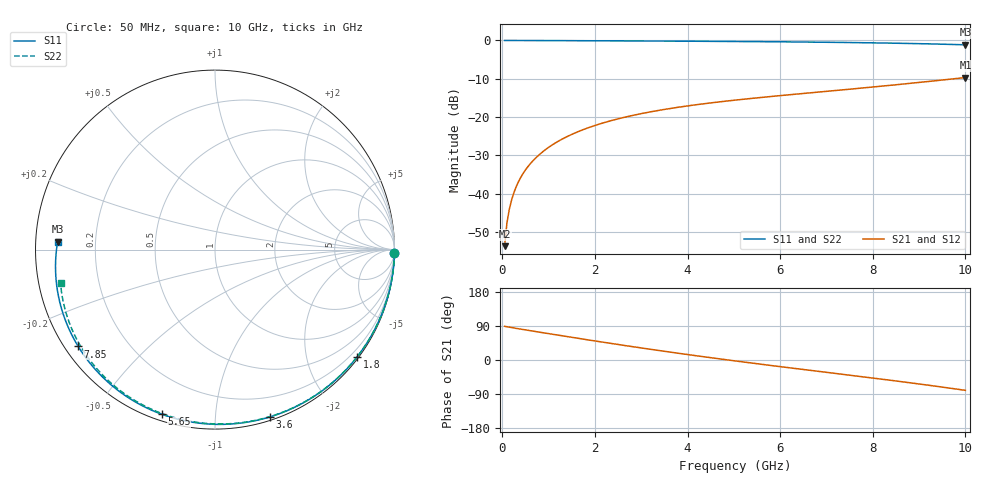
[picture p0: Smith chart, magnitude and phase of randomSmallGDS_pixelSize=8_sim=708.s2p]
! freq	dB(S11)	phase(S11)	dB(S12)	phase(S12)
!  dB(S21)	phase(S21)	dB(S22)	phase(S22)
!S-par simulation data
#  GHz  S  DB  R 50
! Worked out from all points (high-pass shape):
!   200 points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, 50 MHz to 10 GHz, reference 50 ohm
!   highest |S21| = -9.67 dB at 10 GHz (marker M1); lowest = -53.7 dB at 50 MHz (marker M2)
!   |S21| within 3 dB of the highest: 7.538 GHz to end of sweep
!   lowest |S11| = -1.1 dB at 10 GHz (marker M3), VSWR 15.37, Z = 3.26 + j1.26 ohm
!   |S11| at or under -10 dB: nowhere
!   |S22| runs from -1.1 to 0.0 dB; largest |S21 - S12| = 0
!   S11 on the Smith chart (normalised r, x): 50 MHz: open; 1.8 GHz: 0.04, -2.98; 3.6 GHz: 0.03, -1.38; 5.65 GHz: 0.03, -0.73; 7.85 GHz: 0.04, -0.32; 10 GHz: 0.07, +0.03
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0.05  -0.00 -1.1  -53.66 88.9  -53.66 88.9  -0.00 -1.0
0.1  -0.00 -2.1  -47.64 87.7  -47.64 87.7  -0.00 -1.9
0.15  -0.00 -3.2  -44.13 86.6  -44.13 86.6  -0.00 -2.9
0.2  -0.00 -4.2  -41.65 85.6  -41.65 85.6  -0.00 -3.9
0.35  -0.01 -7.4  -36.83 82.4  -36.83 82.4  -0.01 -6.8
0.5  -0.01 -10.5  -33.78 79.4  -33.78 79.4  -0.01 -9.7
0.7  -0.02 -14.7  -30.90 75.5  -30.90 75.5  -0.02 -13.5
1  -0.03 -20.9  -27.88 69.6  -27.88 69.6  -0.03 -19.3
1.35  -0.05 -28.0  -25.37 62.8  -25.37 62.8  -0.04 -25.9
1.75  -0.07 -36.1  -23.24 55.0  -23.24 55.0  -0.06 -33.4
1.8  -0.07 -37.1  -23.02 54.1  -23.02 54.1  -0.06 -34.3
2.6  -0.11 -52.9  -20.15 39.1  -20.15 39.1  -0.10 -48.9
3.4  -0.15 -68.1  -18.19 24.7  -18.19 24.7  -0.15 -63.1
3.6  -0.17 -71.8  -17.79 21.2  -17.79 21.2  -0.16 -66.5
4.3  -0.21 -84.5  -16.59 9.4  -16.59 9.4  -0.20 -78.4
5.05  -0.27 -97.7  -15.53 -2.8  -15.53 -2.8  -0.26 -90.6
5.65  -0.32 -108.0  -14.79 -12.2  -14.79 -12.2  -0.31 -100.2
6.7  -0.43 -125.5  -13.60 -28.1  -13.60 -28.1  -0.41 -116.5
7.85  -0.59 -144.7  -12.32 -45.3  -12.32 -45.3  -0.58 -134.0
8.35  -0.69 -153.2  -11.74 -53.0  -11.74 -53.0  -0.67 -141.7
9.2  -0.89 -168.0  -10.70 -66.5  -10.70 -66.5  -0.86 -154.9
10  -1.13 177.1  -9.67 -80.1  -9.67 -80.1  -1.11 -167.9
